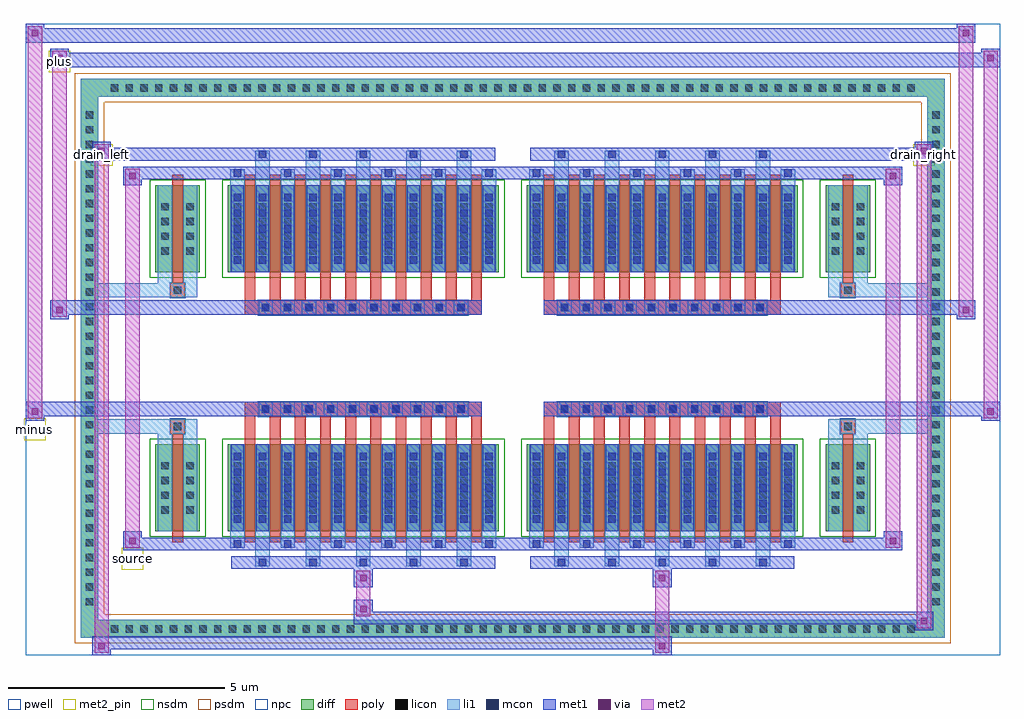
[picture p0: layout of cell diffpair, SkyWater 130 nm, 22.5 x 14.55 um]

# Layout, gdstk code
import gdstk
lib = gdstk.Library(unit=1e-6, precision=5e-09)
def R(c, l, rs):  # rectangles x0, y0, x1, y1
    for r in rs: c.add(gdstk.rectangle(r[:2], r[2:], *l))
def A(c, l, x, y, w, h, nx, ny, dx, dy):  # array of equal rectangles
    R(c, l, [(x+i*dx, y+j*dy, x+i*dx+w, y+j*dy+h) for i in range(nx) for j in range(ny)])
def P(c, l, *ps):  # polygons
    for p in ps: c.add(gdstk.Polygon(p, *l))
pwell = (64, 44)
diff = (65, 20)
poly = (66, 20)
licon = (66, 44)
li1 = (67, 20)
mcon = (67, 44)
met1 = (68, 20)
via = (68, 44)
met2_pin = (69, 16)
met2 = (69, 20)
nsdm = (93, 44)
psdm = (94, 20)
npc = (95, 20)

diffpair = lib.new_cell('diffpair')
R(diffpair, pwell, [(-11.23,-6.84,11.23,7.71), (-8.55,-5.03,-0.01,-0.805), (0.01,-5.03,8.55,-0.805), (-8.55,0.805,-0.01,5.03), (0.01,0.805,8.55,5.03)])
A(diffpair, diff, -9.385, -6.44, 0.41, 0.41, 55, 2, 0.34, 12.47)
A(diffpair, diff, -9.96, -5.815, 0.41, 0.41, 1, 34, 0, 0.34)
A(diffpair, diff, 9.55, -5.815, 0.41, 0.41, 1, 34, 0, 0.34)
R(diffpair, diff, [(-9.385,-6.44,9.385,-6.03), (-9.96,-5.815,-9.55,5.815), (9.55,-5.815,9.96,5.815), (-8.24,-3.985,-7.21,-1.985), (-6.57,-3.985,-0.32,-1.985), (0.32,-3.985,6.57,-1.985), (7.21,-3.985,8.24,-1.985), (-8.24,1.985,-7.21,3.985), (-6.57,1.985,-0.32,3.985), (0.32,1.985,6.57,3.985), (7.21,1.985,8.24,3.985), (-9.385,6.03,9.385,6.44)])
P(diffpair, diff, [(9.96,6.44),(-9.96,6.44),(-9.96,-6.03),(-9.55,-6.03),(-9.55,6.03),(9.55,6.03),(9.55,-6.03),(-9.55,-6.03),(-9.96,-6.03),(-9.96,-6.44),(9.96,-6.44)])
A(diffpair, poly, -6.18, -4.235, 0.25, 2.5, 10, 2, 0.58, 5.97)
A(diffpair, poly, 0.71, -4.235, 0.25, 2.5, 10, 2, 0.58, 5.97)
A(diffpair, poly, -6.18, -1.735, 0.25, 0.4, 10, 2, 0.58, 3.07)
A(diffpair, poly, 0.71, -1.735, 0.25, 0.4, 10, 2, 0.58, 3.07)
A(diffpair, poly, -5.86, -1.335, 0.33, 0.33, 10, 2, 0.5, 2.34)
A(diffpair, poly, 1.03, -1.335, 0.33, 0.33, 10, 2, 0.5, 2.34)
R(diffpair, poly, [(-7.85,-4.235,-7.6,-1.735), (7.6,-4.235,7.85,-1.735), (-7.89,-1.735,-7.56,-1.405), (-7.89,-1.735,-7.56,-1.405), (7.56,-1.735,7.89,-1.405), (7.56,-1.735,7.89,-1.405), (-6.18,-1.335,-0.71,-1.005), (0.71,-1.335,6.18,-1.005), (-6.18,1.005,-0.71,1.335), (0.71,1.005,6.18,1.335), (-7.89,1.405,-7.56,1.735), (-7.89,1.405,-7.56,1.735), (7.56,1.405,7.89,1.735), (7.56,1.405,7.89,1.735), (-7.85,1.735,-7.6,4.235), (7.6,1.735,7.85,4.235)])
A(diffpair, licon, -9.265, -6.32, 0.17, 0.17, 55, 2, 0.34, 12.47)
A(diffpair, licon, -9.84, -5.695, 0.17, 0.17, 1, 34, 0, 0.34)
A(diffpair, licon, 9.67, -5.695, 0.17, 0.17, 1, 34, 0, 0.34)
A(diffpair, licon, -8.1, -3.58, 0.17, 0.17, 1, 4, 0, 0.34)
A(diffpair, licon, -7.52, -3.58, 0.17, 0.17, 1, 4, 0, 0.34)
A(diffpair, licon, -6.43, -3.58, 0.17, 0.17, 11, 4, 0.58, 0.34)
A(diffpair, licon, 0.46, -3.58, 0.17, 0.17, 11, 4, 0.58, 0.34)
A(diffpair, licon, 7.35, -3.58, 0.17, 0.17, 1, 4, 0, 0.34)
A(diffpair, licon, 7.93, -3.58, 0.17, 0.17, 1, 4, 0, 0.34)
A(diffpair, licon, -5.78, -1.255, 0.17, 0.17, 10, 2, 0.5, 2.34)
A(diffpair, licon, 1.11, -1.255, 0.17, 0.17, 10, 2, 0.5, 2.34)
A(diffpair, licon, -8.1, 2.39, 0.17, 0.17, 1, 4, 0, 0.34)
A(diffpair, licon, -7.52, 2.39, 0.17, 0.17, 1, 4, 0, 0.34)
A(diffpair, licon, -6.43, 2.39, 0.17, 0.17, 11, 4, 0.58, 0.34)
A(diffpair, licon, 0.46, 2.39, 0.17, 0.17, 11, 4, 0.58, 0.34)
A(diffpair, licon, 7.35, 2.39, 0.17, 0.17, 1, 4, 0, 0.34)
A(diffpair, licon, 7.93, 2.39, 0.17, 0.17, 1, 4, 0, 0.34)
R(diffpair, licon, [(-7.81,-1.655,-7.64,-1.485), (7.64,-1.655,7.81,-1.485), (-7.81,1.485,-7.64,1.655), (7.64,1.485,7.81,1.655)])
A(diffpair, li1, -9.345, -6.4, 0.33, 0.33, 55, 2, 0.34, 12.47)
A(diffpair, li1, -9.92, -5.775, 0.33, 0.33, 1, 34, 0, 0.34)
A(diffpair, li1, 9.59, -5.775, 0.33, 0.33, 1, 34, 0, 0.34)
A(diffpair, li1, -5.93, -4.79, 0.33, 0.805, 5, 2, 1.16, 8.775)
A(diffpair, li1, -5.85, -4.79, 0.17, 0.17, 5, 2, 1.16, 9.41)
A(diffpair, li1, 0.96, -4.79, 0.33, 0.805, 5, 2, 1.16, 8.775)
A(diffpair, li1, 1.04, -4.79, 0.17, 0.17, 5, 2, 1.16, 9.41)
A(diffpair, li1, -6.51, -4.36, 0.33, 0.375, 6, 2, 1.16, 8.345)
A(diffpair, li1, -6.43, -4.36, 0.17, 0.17, 6, 2, 1.16, 8.55)
A(diffpair, li1, 0.38, -4.36, 0.33, 0.375, 6, 2, 1.16, 8.345)
A(diffpair, li1, 0.46, -4.36, 0.17, 0.17, 6, 2, 1.16, 8.55)
A(diffpair, li1, -6.51, -3.985, 0.33, 2, 11, 2, 0.58, 5.97)
A(diffpair, li1, 0.38, -3.985, 0.33, 2, 11, 2, 0.58, 5.97)
A(diffpair, li1, -6.43, -3.79, 0.17, 0.17, 11, 5, 0.58, 0.36)
A(diffpair, li1, -6.43, -3.79, 0.17, 1.61, 11, 2, 0.58, 5.97)
A(diffpair, li1, 0.46, -3.79, 0.17, 0.17, 11, 5, 0.58, 0.36)
A(diffpair, li1, 0.46, -3.79, 0.17, 1.61, 11, 2, 0.58, 5.97)
A(diffpair, li1, -8.18, -3.66, 0.33, 0.33, 1, 4, 0, 0.34)
A(diffpair, li1, -7.6, -3.66, 0.33, 0.33, 1, 4, 0, 0.34)
A(diffpair, li1, -6.51, -3.66, 0.33, 0.33, 11, 4, 0.58, 0.34)
A(diffpair, li1, 0.38, -3.66, 0.33, 0.33, 11, 4, 0.58, 0.34)
A(diffpair, li1, 7.27, -3.66, 0.33, 0.33, 1, 4, 0, 0.34)
A(diffpair, li1, 7.85, -3.66, 0.33, 0.33, 1, 4, 0, 0.34)
A(diffpair, li1, -5.86, -1.335, 0.33, 0.33, 10, 2, 0.5, 2.34)
A(diffpair, li1, 1.03, -1.335, 0.33, 0.33, 10, 2, 0.5, 2.34)
A(diffpair, li1, -6.43, 2.18, 0.17, 0.17, 11, 5, 0.58, 0.36)
A(diffpair, li1, 0.46, 2.18, 0.17, 0.17, 11, 5, 0.58, 0.36)
A(diffpair, li1, -8.18, 2.31, 0.33, 0.33, 1, 4, 0, 0.34)
A(diffpair, li1, -7.6, 2.31, 0.33, 0.33, 1, 4, 0, 0.34)
A(diffpair, li1, -6.51, 2.31, 0.33, 0.33, 11, 4, 0.58, 0.34)
A(diffpair, li1, 0.38, 2.31, 0.33, 0.33, 11, 4, 0.58, 0.34)
A(diffpair, li1, 7.27, 2.31, 0.33, 0.33, 1, 4, 0, 0.34)
A(diffpair, li1, 7.85, 2.31, 0.33, 0.33, 1, 4, 0, 0.34)
R(diffpair, li1, [(-9.96,-6.44,-9.55,-6.03), (-9.96,-6.44,-9.55,-6.03), (-9.55,-6.44,9.55,-6.03), (9.55,-6.44,9.96,-6.03), (9.55,-6.44,9.96,-6.03), (-9.96,-6.03,-9.55,6.03), (9.55,-6.03,9.96,6.03), (-8.18,-3.985,-7.85,-1.985), (-7.6,-3.985,-7.27,-1.985), (7.27,-3.985,7.6,-1.985), (7.85,-3.985,8.18,-1.985), (-8.18,-1.985,-7.85,-1.405), (-7.6,-1.985,-7.27,-1.405), (7.27,-1.985,7.6,-1.405), (7.85,-1.985,8.18,-1.405), (-9.96,-1.735,-7.89,-1.405), (-8.18,-1.735,-7.89,-1.405), (-7.89,-1.735,-7.56,-1.405), (-7.56,-1.735,-7.27,-1.405), (7.27,-1.735,7.56,-1.405), (7.56,-1.735,7.89,-1.405), (7.56,-1.735,9.96,-1.405), (7.89,-1.735,8.18,-1.405), (-9.96,1.405,-7.89,1.735), (-8.18,1.405,-7.89,1.735), (-8.18,1.405,-7.85,1.985), (-7.89,1.405,-7.56,1.735), (-7.6,1.405,-7.27,1.985), (-7.56,1.405,-7.27,1.735), (7.27,1.405,7.56,1.735), (7.27,1.405,7.6,1.985), (7.56,1.405,7.89,1.735), (7.56,1.405,9.96,1.735), (7.85,1.405,8.18,1.985), (7.89,1.405,8.18,1.735), (-8.18,1.985,-7.85,3.985), (-7.6,1.985,-7.27,3.985), (7.27,1.985,7.6,3.985), (7.85,1.985,8.18,3.985), (-9.96,6.03,-9.55,6.44), (-9.96,6.03,-9.55,6.44), (-9.55,6.03,9.55,6.44), (9.55,6.03,9.96,6.44), (9.55,6.03,9.96,6.44)])
A(diffpair, mcon, -5.85, -4.79, 0.17, 0.17, 5, 2, 1.16, 9.41)
A(diffpair, mcon, 1.04, -4.79, 0.17, 0.17, 5, 2, 1.16, 9.41)
A(diffpair, mcon, -6.43, -4.36, 0.17, 0.17, 6, 2, 1.16, 8.55)
A(diffpair, mcon, 0.46, -4.36, 0.17, 0.17, 6, 2, 1.16, 8.55)
A(diffpair, mcon, -6.43, -3.79, 0.17, 0.17, 11, 5, 0.58, 0.36)
A(diffpair, mcon, 0.46, -3.79, 0.17, 0.17, 11, 5, 0.58, 0.36)
A(diffpair, mcon, -5.78, -1.255, 0.17, 0.17, 10, 2, 0.5, 2.34)
A(diffpair, mcon, 1.11, -1.255, 0.17, 0.17, 10, 2, 0.5, 2.34)
A(diffpair, mcon, -6.43, 2.18, 0.17, 0.17, 11, 5, 0.58, 0.36)
A(diffpair, mcon, 0.46, 2.18, 0.17, 0.17, 11, 5, 0.58, 0.36)
A(diffpair, met1, -5.91, -4.85, 0.29, 0.29, 5, 2, 1.16, 9.41)
A(diffpair, met1, 0.98, -4.85, 0.29, 0.29, 5, 2, 1.16, 9.41)
A(diffpair, met1, -6.49, -4.42, 0.29, 0.29, 6, 2, 1.16, 8.55)
A(diffpair, met1, 0.4, -4.42, 0.29, 0.29, 6, 2, 1.16, 8.55)
A(diffpair, met1, -6.49, -3.985, 0.29, 2, 11, 2, 0.58, 5.97)
A(diffpair, met1, 0.4, -3.985, 0.29, 2, 11, 2, 0.58, 5.97)
A(diffpair, met1, -6.49, -3.85, 0.29, 0.29, 11, 5, 0.58, 0.36)
A(diffpair, met1, 0.4, -3.85, 0.29, 0.29, 11, 5, 0.58, 0.36)
A(diffpair, met1, -5.84, -1.315, 0.29, 0.29, 10, 2, 0.5, 2.34)
A(diffpair, met1, 1.05, -1.315, 0.29, 0.29, 10, 2, 0.5, 2.34)
A(diffpair, met1, -6.49, 2.12, 0.29, 0.29, 11, 5, 0.58, 0.36)
A(diffpair, met1, 0.4, 2.12, 0.29, 0.29, 11, 5, 0.58, 0.36)
R(diffpair, met1, [(-9.69,-6.84,-9.26,-6.41), (3.23,-6.84,3.66,-6.41), (-9.69,-6.7,3.66,-6.41), (9.26,-6.27,9.69,-5.84), (-3.66,-6.13,9.69,-5.84), (-3.66,-5.99,-3.23,-5.56), (-3.66,-5.28,-3.23,-4.85), (3.23,-5.28,3.66,-4.85), (-6.49,-4.85,-0.4,-4.56), (0.4,-4.85,6.49,-4.56), (-8.98,-4.42,-8.55,-3.99), (-8.98,-4.42,-6.49,-4.13), (-6.49,-4.42,-0.4,-4.13), (-0.4,-4.42,0.4,-4.13), (0.4,-4.42,6.49,-4.13), (6.49,-4.42,8.98,-4.13), (8.55,-4.42,8.98,-3.99), (-11.23,-1.435,-10.8,-1.005), (10.8,-1.435,11.23,-1.005), (-11.23,-1.335,-0.71,-1.005), (-6.18,-1.335,-0.71,-1.005), (0.71,-1.335,6.18,-1.005), (0.71,-1.335,11.23,-1.005), (-10.66,0.905,-10.23,1.335), (10.23,0.905,10.66,1.335), (-10.66,1.005,-6.18,1.335), (-6.18,1.005,-0.71,1.335), (0.71,1.005,6.18,1.335), (6.18,1.005,10.66,1.335), (-8.98,3.99,-8.55,4.42), (8.55,3.99,8.98,4.42), (-8.98,4.13,-6.49,4.42), (-6.49,4.13,-0.4,4.42), (-0.4,4.13,0.4,4.42), (0.4,4.13,6.49,4.42), (6.49,4.13,8.98,4.42), (-9.69,4.56,-9.26,4.99), (-9.69,4.56,-6.49,4.85), (-6.49,4.56,-0.4,4.85), (0.4,4.56,6.49,4.85), (6.49,4.56,9.69,4.85), (9.26,4.56,9.69,4.99), (-10.66,6.71,-10.23,7.14), (-10.66,6.71,-8.55,7.04), (-8.55,6.71,8.55,7.04), (8.55,6.71,11.23,7.04), (10.8,6.71,11.23,7.14), (-11.23,7.28,-10.8,7.71), (-11.23,7.28,-8.55,7.61), (-8.55,7.28,8.55,7.61), (8.55,7.28,10.66,7.61), (10.23,7.28,10.66,7.71)])
R(diffpair, via, [(-9.55,-6.7,-9.4,-6.55), (3.37,-6.7,3.52,-6.55), (9.4,-6.13,9.55,-5.98), (-3.52,-5.85,-3.37,-5.7), (-3.52,-5.14,-3.37,-4.99), (3.37,-5.14,3.52,-4.99), (-8.84,-4.28,-8.69,-4.13), (8.69,-4.28,8.84,-4.13), (-11.09,-1.295,-10.94,-1.145), (10.94,-1.295,11.09,-1.145), (-10.52,1.045,-10.37,1.195), (10.37,1.045,10.52,1.195), (-8.84,4.13,-8.69,4.28), (8.69,4.13,8.84,4.28), (-9.55,4.7,-9.4,4.85), (9.4,4.7,9.55,4.85), (-10.52,6.85,-10.37,7), (10.94,6.85,11.09,7), (-11.09,7.42,-10.94,7.57), (10.37,7.42,10.52,7.57)])
R(diffpair, met2_pin, [(-9.015,-4.87,-8.515,-4.37), (-11.265,-1.885,-10.765,-1.385), (-9.725,4.44,-9.225,4.94), (9.225,4.44,9.725,4.94), (-10.695,6.59,-10.195,7.09)])
R(diffpair, met2, [(-9.64,-6.79,-9.31,-6.46), (-9.64,-6.79,-9.31,4.94), (3.28,-6.79,3.61,-6.46), (3.28,-6.46,3.61,-5.23), (9.31,-6.22,9.64,-5.89), (9.31,-6.22,9.64,4.94), (-3.61,-5.94,-3.28,-5.61), (-3.61,-5.61,-3.28,-5.23), (-3.61,-5.23,-3.28,-4.9), (3.28,-5.23,3.61,-4.9), (-8.93,-4.37,-8.6,-4.04), (-8.93,-4.37,-8.6,4.37), (8.6,-4.37,8.93,-4.04), (8.6,-4.37,8.93,4.37), (-11.18,-1.385,-10.85,-1.055), (-11.18,-1.385,-10.85,7.66), (10.85,-1.385,11.18,-1.055), (10.85,-1.385,11.18,7.09), (-10.61,0.955,-10.28,1.285), (-10.61,0.955,-10.28,7.09), (10.28,0.955,10.61,1.285), (10.28,0.955,10.61,7.66), (-8.93,4.04,-8.6,4.37), (8.6,4.04,8.93,4.37), (-9.64,4.61,-9.31,4.94), (9.31,4.61,9.64,4.94), (-10.61,6.76,-10.28,7.09), (10.85,6.76,11.18,7.09), (-11.18,7.33,-10.85,7.66), (10.28,7.33,10.61,7.66)])
P(diffpair, met2, [(11.18,-1.385),(11.18,-1.385),(11.18,-1.055),(11.18,-1.055)],
  [(11.18,6.76),(11.18,6.76),(11.18,7.09),(11.18,7.09)],
  [(-10.85,-1.385),(-10.85,-1.385),(-10.85,-1.055),(-10.85,-1.055)],
  [(-10.85,7.33),(-10.85,7.33),(-10.85,7.66),(-10.85,7.66)],
  [(10.61,0.955),(10.61,0.955),(10.61,1.285),(10.61,1.285)],
  [(10.61,7.33),(10.61,7.33),(10.61,7.66),(10.61,7.66)],
  [(-10.28,0.955),(-10.28,0.955),(-10.28,1.285),(-10.28,1.285)],
  [(-10.28,6.76),(-10.28,6.76),(-10.28,7.09),(-10.28,7.09)],
  [(-9.31,-6.79),(-9.31,-6.79),(-9.31,-6.46),(-9.31,-6.46)],
  [(-9.31,4.61),(-9.31,4.61),(-9.31,4.94),(-9.31,4.94)],
  [(9.64,-6.22),(9.64,-6.22),(9.64,-5.89),(9.64,-5.89)],
  [(9.64,4.61),(9.64,4.61),(9.64,4.94),(9.64,4.94)],
  [(-8.6,-4.37),(-8.6,-4.37),(-8.6,-4.04),(-8.6,-4.04)],
  [(-8.6,4.04),(-8.6,4.04),(-8.6,4.37),(-8.6,4.37)],
  [(8.93,-4.37),(8.93,-4.37),(8.93,-4.04),(8.93,-4.04)],
  [(8.93,4.04),(8.93,4.04),(8.93,4.37),(8.93,4.37)])
R(diffpair, nsdm, [(-8.37,-4.115,-7.08,-1.855), (-6.7,-4.115,-0.19,-1.855), (0.19,-4.115,6.7,-1.855), (7.08,-4.115,8.37,-1.855), (-8.37,1.855,-7.08,4.115), (-6.7,1.855,-0.19,4.115), (0.19,1.855,6.7,4.115), (7.08,1.855,8.37,4.115)])
P(diffpair, psdm, [(10.09,6.57),(-10.09,6.57),(-10.09,-5.9),(-9.42,-5.9),(-9.42,5.9),(9.42,5.9),(9.42,-5.9),(-9.42,-5.9),(-10.09,-5.9),(-10.09,-6.57),(10.09,-6.57)])
A(diffpair, npc, -5.88, -1.355, 0.37, 0.37, 10, 2, 0.5, 2.34)
A(diffpair, npc, 1.01, -1.355, 0.37, 0.37, 10, 2, 0.5, 2.34)
R(diffpair, npc, [(-7.91,-1.755,-7.54,-1.385), (7.54,-1.755,7.91,-1.385), (-5.88,-1.355,-5.01,-0.985), (-5.88,-1.355,-5.01,-0.985), (-5.38,-1.355,-4.51,-0.985), (-5.38,-1.355,-4.51,-0.985), (-4.88,-1.355,-4.01,-0.985), (-4.88,-1.355,-4.01,-0.985), (-4.38,-1.355,-3.51,-0.985), (-4.38,-1.355,-3.51,-0.985), (-3.88,-1.355,-3.01,-0.985), (-3.88,-1.355,-3.01,-0.985), (-3.38,-1.355,-2.51,-0.985), (-3.38,-1.355,-2.51,-0.985), (-2.88,-1.355,-2.01,-0.985), (-2.88,-1.355,-2.01,-0.985), (-2.38,-1.355,-1.51,-0.985), (-2.38,-1.355,-1.51,-0.985), (-1.88,-1.355,-1.01,-0.985), (-1.88,-1.355,-1.01,-0.985), (1.01,-1.355,1.88,-0.985), (1.01,-1.355,1.88,-0.985), (1.51,-1.355,2.38,-0.985), (1.51,-1.355,2.38,-0.985), (2.01,-1.355,2.88,-0.985), (2.01,-1.355,2.88,-0.985), (2.51,-1.355,3.38,-0.985), (2.51,-1.355,3.38,-0.985), (3.01,-1.355,3.88,-0.985), (3.01,-1.355,3.88,-0.985), (3.51,-1.355,4.38,-0.985), (3.51,-1.355,4.38,-0.985), (4.01,-1.355,4.88,-0.985), (4.01,-1.355,4.88,-0.985), (4.51,-1.355,5.38,-0.985), (4.51,-1.355,5.38,-0.985), (5.01,-1.355,5.88,-0.985), (5.01,-1.355,5.88,-0.985), (-5.88,0.985,-5.01,1.355), (-5.88,0.985,-5.01,1.355), (-5.38,0.985,-4.51,1.355), (-5.38,0.985,-4.51,1.355), (-4.88,0.985,-4.01,1.355), (-4.88,0.985,-4.01,1.355), (-4.38,0.985,-3.51,1.355), (-4.38,0.985,-3.51,1.355), (-3.88,0.985,-3.01,1.355), (-3.88,0.985,-3.01,1.355), (-3.38,0.985,-2.51,1.355), (-3.38,0.985,-2.51,1.355), (-2.88,0.985,-2.01,1.355), (-2.88,0.985,-2.01,1.355), (-2.38,0.985,-1.51,1.355), (-2.38,0.985,-1.51,1.355), (-1.88,0.985,-1.01,1.355), (-1.88,0.985,-1.01,1.355), (1.01,0.985,1.88,1.355), (1.01,0.985,1.88,1.355), (1.51,0.985,2.38,1.355), (1.51,0.985,2.38,1.355), (2.01,0.985,2.88,1.355), (2.01,0.985,2.88,1.355), (2.51,0.985,3.38,1.355), (2.51,0.985,3.38,1.355), (3.01,0.985,3.88,1.355), (3.01,0.985,3.88,1.355), (3.51,0.985,4.38,1.355), (3.51,0.985,4.38,1.355), (4.01,0.985,4.88,1.355), (4.01,0.985,4.88,1.355), (4.51,0.985,5.38,1.355), (4.51,0.985,5.38,1.355), (5.01,0.985,5.88,1.355), (5.01,0.985,5.88,1.355), (-7.91,1.385,-7.54,1.755), (7.54,1.385,7.91,1.755)])
diffpair.add(gdstk.Label('minus', (-11.015,-1.635), layer=69, texttype=5))
diffpair.add(gdstk.Label('drain_right', (9.475,4.69), layer=69, texttype=5))
diffpair.add(gdstk.Label('drain_left', (-9.475,4.69), layer=69, texttype=5))
diffpair.add(gdstk.Label('source', (-8.765,-4.62), layer=69, texttype=5))
diffpair.add(gdstk.Label('plus', (-10.445,6.84), layer=69, texttype=5))

lib.write_gds('diffpair.gds')
